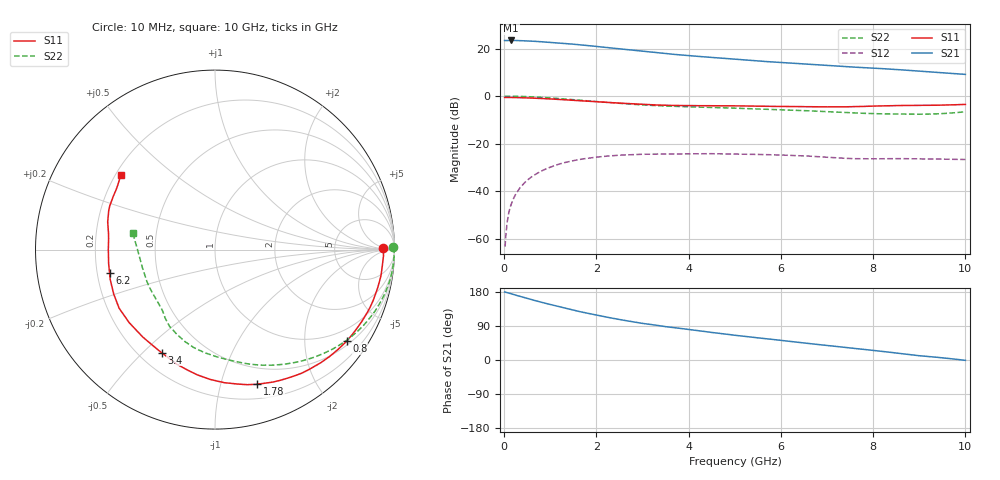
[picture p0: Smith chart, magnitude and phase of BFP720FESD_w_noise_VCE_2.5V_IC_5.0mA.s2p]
! Infineon Technologies  Discrete & RF Semiconductors
! BFP720FESD
! VCE =  2.5 V,  IC =  5.0 mA
! Common Emitter S-Parameters:  Jan 2016
# GHz  S  MA  R  50
!  f  S11  S21  S12  S22
! GHz  MAG  ANG  MAG  ANG  MAG  ANG  MAG  ANG
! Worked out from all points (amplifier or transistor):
!   233 points, 10 MHz to 10 GHz, reference 50 ohm
!   highest |S21| = 23.4 dB at 150 MHz (marker M1)
!   |S21| within 3 dB of that: start of sweep to 2.244 GHz
!   unconditionally stable (mu >= 1): 7.147 GHz to end of sweep
!   at 200 MHz: K = 0.01, MSG = 33.3 dB, |S12| = -43.2 dB
!   at 1.74 GHz: K = 0.19, MSG = 23.9 dB, |S12| = -26.3 dB
!   at 10 GHz: K = 1.48, MAG = 13.8 dB, |S12| = -26.7 dB
!   lowest NFmin = 0.52 dB at 450 MHz
!   S11 on the Smith chart (normalised r, x): 10 MHz: 30, +5; 800 MHz: 0.61, -3.09; 1.78 GHz: 0.33, -1.31; 3.4 GHz: 0.29, -0.57; 6.2 GHz: 0.25, -0.10; 10 GHz: 0.22, +0.33
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0.01  0.938 0.6  14.79 179.5  0.0007 98.0  0.9896 0.7
0.07  0.9383 -3.0  14.73 177.5  0.0024 84.9  0.9984 -2.1
0.15  0.9363 -6.7  14.81 174.8  0.0052 85.7  0.9973 -4.6
0.44  0.9236 -19.4  14.56 164.6  0.0151 77.8  0.981 -13.3
0.6  0.9104 -26.3  14.32 159.0  0.0202 73.3  0.9659 -18.0
0.8  0.894 -34.7  13.92 152.6  0.0264 68.0  0.9437 -23.7
0.98  0.8752 -42.1  13.58 147.0  0.0316 63.2  0.9202 -28.8
1.22  0.8492 -51.8  13.05 139.6  0.0379 57.0  0.8856 -35.5
1.4  0.8279 -58.9  12.63 134.2  0.042 52.6  0.8577 -40.3
1.68  0.796 -69.1  11.93 126.5  0.0473 46.1  0.8148 -47.4
1.78  0.7859 -72.5  11.63 123.9  0.0489 44.0  0.8004 -49.7
2.2  0.7434 -86.0  10.6 113.6  0.0545 35.9  0.7428 -59.5
2.58  0.7065 -97.4  9.706 105.1  0.0579 29.3  0.6961 -67.7
3  0.6723 -108.7  8.784 96.6  0.0599 23.0  0.6532 -75.7
3.4  0.6464 -117.4  8.008 89.9  0.0605 18.7  0.6256 -81.4
4  0.6319 -129.5  7.113 80.5  0.0613 13.3  0.5976 -89.0
4.5  0.6279 -139.6  6.519 72.7  0.0616 9.1  0.5775 -95.7
5.1  0.6232 -150.1  5.853 64.0  0.0605 4.4  0.5542 -103.3
6.2  0.602 -167.3  4.965 49.2  0.0569 -2.1  0.5085 -116.7
6.8  0.5945 -177.0  4.558 41.0  0.0533 -4.5  0.4815 -123.8
8.4  0.6305 159.9  3.682 19.8  0.0485 -0.1  0.4217 -149.8
10  0.6699 141.5  2.864 -0.9  0.0465 1.6  0.4685 168.4
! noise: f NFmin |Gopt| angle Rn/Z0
0.45  0.52  0.56  4  0.15
2.4  0.64  0.36  32  0.16
5.5  0.83  0.39  106  0.11
10  1.39  0.32  -163  0.09
